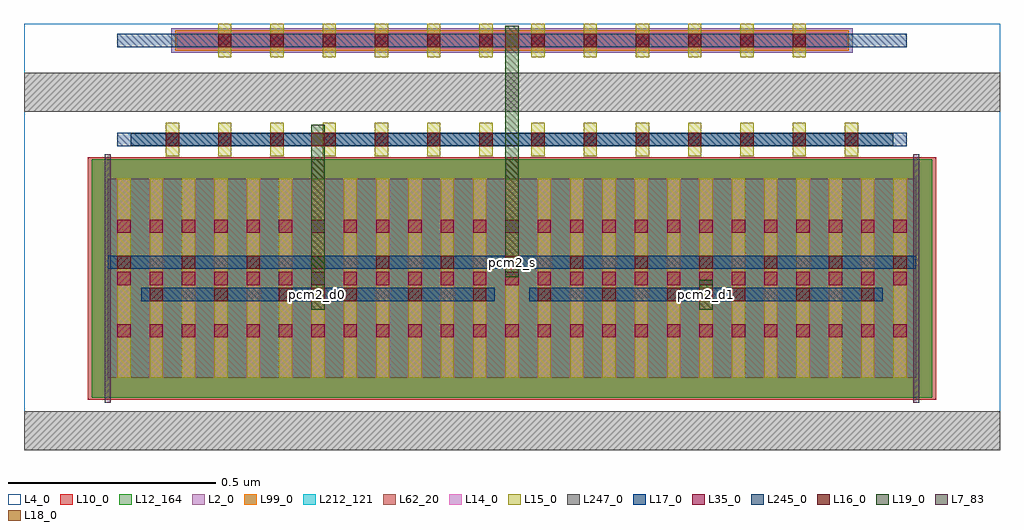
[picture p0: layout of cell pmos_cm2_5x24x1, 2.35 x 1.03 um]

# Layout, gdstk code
import gdstk
lib = gdstk.Library(unit=1e-6, precision=1e-12)
def R(c, l, rs):  # rectangles x0, y0, x1, y1
    for r in rs: c.add(gdstk.rectangle(r[:2], r[2:], *l))
def A(c, l, x, y, w, h, nx, ny, dx, dy):  # array of equal rectangles
    R(c, l, [(x+i*dx, y+j*dy, x+i*dx+w, y+j*dy+h) for i in range(nx) for j in range(ny)])
L2_0 = (2, 0)
L4_0 = (4, 0)
L7_83 = (7, 83)
L10_0 = (10, 0)
L12_164 = (12, 164)
L14_0 = (14, 0)
L15_0 = (15, 0)
L16_0 = (16, 0)
L17_0 = (17, 0)
L18_0 = (18, 0)
L19_0 = (19, 0)
L35_0 = (35, 0)
L62_20 = (62, 20)
L99_0 = (99, 0)
L212_121 = (212, 121)
L245_0 = (245, 0)
L247_0 = (247, 0)

pmos_cm2_5x24x1 = lib.new_cell('pmos_cm2_5x24x1')
R(pmos_cm2_5x24x1, L2_0, [(0,0,1.95,0.48), (0.1526,0.784,1.7974,0.844)])
R(pmos_cm2_5x24x1, L4_0, [(-0.202,-0.174,2.152,0.854)])
R(pmos_cm2_5x24x1, L7_83, [(-0.007,-0.06,0.007,0.54), (1.943,-0.06,1.957,0.54)])
R(pmos_cm2_5x24x1, L10_0, [(-0.048,-0.052,1.998,0.532)])
R(pmos_cm2_5x24x1, L12_164, [(-0.039,-0.048,1.989,0.528)])
A(pmos_cm2_5x24x1, L14_0, 0.022, 0, 0.034, 0.48, 25, 1, 0.078, 0)
R(pmos_cm2_5x24x1, L14_0, [(0.1676,0.794,1.7824,0.834)])
A(pmos_cm2_5x24x1, L15_0, 0.023, 0, 0.032, 0.48, 25, 1, 0.078, 0)
A(pmos_cm2_5x24x1, L15_0, 0.14, 0.535, 0.032, 0.08, 14, 1, 0.126, 0)
A(pmos_cm2_5x24x1, L15_0, 0.266, 0.774, 0.032, 0.08, 12, 1, 0.126, 0)
A(pmos_cm2_5x24x1, L16_0, 0.101, 0.185, 0.032, 0.032, 12, 1, 0.156, 0)
A(pmos_cm2_5x24x1, L16_0, 0.023, 0.263, 0.032, 0.032, 13, 1, 0.156, 0)
A(pmos_cm2_5x24x1, L16_0, 0.14, 0.559, 0.032, 0.032, 14, 1, 0.126, 0)
A(pmos_cm2_5x24x1, L16_0, 0.266, 0.798, 0.032, 0.032, 12, 1, 0.126, 0)
R(pmos_cm2_5x24x1, L17_0, [(0.081,0.185,0.933,0.217), (1.017,0.185,1.869,0.217), (0,0.263,1.95,0.295), (0.023,0.559,1.927,0.591), (0.023,0.798,1.927,0.83)])
R(pmos_cm2_5x24x1, L18_0, [(0.491,0.185,0.523,0.217), (1.427,0.185,1.459,0.217), (0.959,0.263,0.991,0.295), (0.491,0.559,0.523,0.591), (0.959,0.798,0.991,0.83)])
R(pmos_cm2_5x24x1, L19_0, [(0.491,0.165,0.523,0.611), (1.427,0.165,1.459,0.237), (0.959,0.243,0.991,0.85)])
A(pmos_cm2_5x24x1, L35_0, 0.023, 0.098, 0.032, 0.032, 25, 3, 0.078, 0.126)
A(pmos_cm2_5x24x1, L35_0, 0.14, 0.559, 0.032, 0.032, 14, 1, 0.126, 0)
A(pmos_cm2_5x24x1, L35_0, 0.266, 0.798, 0.032, 0.032, 12, 1, 0.126, 0)
R(pmos_cm2_5x24x1, L62_20, [(0,0,1.95,0.48)])
R(pmos_cm2_5x24x1, L99_0, [(0,0,1.95,0.48), (0.1626,0.789,1.7874,0.839)])
R(pmos_cm2_5x24x1, L212_121, [(0,0,1.95,0.48)])
R(pmos_cm2_5x24x1, L245_0, [(0.055,0.56,1.895,0.59)])
R(pmos_cm2_5x24x1, L247_0, [(-0.202,-0.174,2.152,-0.08), (-0.202,0.642,2.152,0.736)])
pmos_cm2_5x24x1.add(gdstk.Label('pcm2_s', (0.975,0.279), layer=16, texttype=20))
pmos_cm2_5x24x1.add(gdstk.Label('pcm2_d1', (1.443,0.201), layer=16, texttype=20))
pmos_cm2_5x24x1.add(gdstk.Label('pcm2_d0', (0.507,0.201), layer=16, texttype=20))

lib.write_gds('pmos_cm2_5x24x1.gds')
